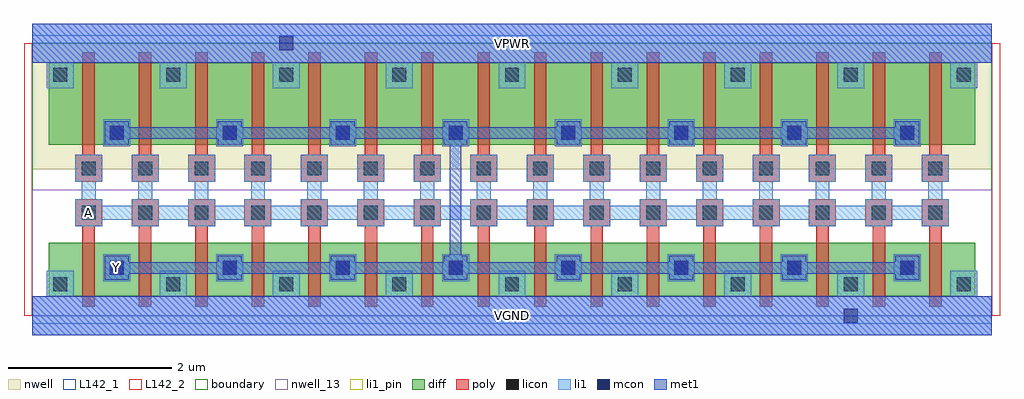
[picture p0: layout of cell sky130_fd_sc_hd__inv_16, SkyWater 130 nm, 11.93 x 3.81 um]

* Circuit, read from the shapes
.subckt sky130_fd_sc_hd__inv_16 A VGND VPWR Y
XM1 Y A VGND VSUBS sky130_fd_pr__nfet_01v8 w=0.65 l=0.15 m=16
XM2 Y A VPWR n1 sky130_fd_pr__pfet_01v8 w=1 l=0.15 m=16
.ends

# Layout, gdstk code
import gdstk
lib = gdstk.Library(unit=1e-6, precision=1e-09)
def R(c, l, rs):  # rectangles x0, y0, x1, y1
    for r in rs: c.add(gdstk.rectangle(r[:2], r[2:], *l))
def A(c, l, x, y, w, h, nx, ny, dx, dy):  # array of equal rectangles
    R(c, l, [(x+i*dx, y+j*dy, x+i*dx+w, y+j*dy+h) for i in range(nx) for j in range(ny)])
def P(c, l, *ps):  # polygons
    for p in ps: c.add(gdstk.Polygon(p, *l))
nwell_13 = (64, 13)
nwell = (64, 20)
diff = (65, 20)
poly = (66, 20)
licon = (66, 44)
li1_pin = (67, 16)
li1 = (67, 20)
mcon = (67, 44)
met1 = (68, 20)
L142_1 = (142, 1)
L142_2 = (142, 2)
boundary = (235, 4)

sky130_fd_sc_hd__inv_16 = lib.new_cell('sky130_fd_sc_hd__inv_16')
R(sky130_fd_sc_hd__inv_16, nwell_13, [(0,0,11.73,1.54)])
R(sky130_fd_sc_hd__inv_16, nwell, [(0,1.79,11.73,3.33)])
A(sky130_fd_sc_hd__inv_16, diff, 0.615, 0.24, 0.69, 0.65, 15, 1, 0.69, 0)
A(sky130_fd_sc_hd__inv_16, diff, 0.615, 2.09, 0.69, 1, 15, 1, 0.69, 0)
R(sky130_fd_sc_hd__inv_16, diff, [(0.2,0.24,11.53,0.89), (0.2,0.24,0.615,0.89), (10.965,0.24,11.53,0.89), (0.2,2.09,11.53,3.09), (0.2,2.09,0.615,3.09), (10.965,2.09,11.53,3.09)])
P(sky130_fd_sc_hd__inv_16, poly, [(0.615,0.11),(0.615,1.095),(0.525,1.095),(0.525,1.425),(0.855,1.425),(0.855,1.095),(0.765,1.095),(0.765,0.11)],
  [(1.305,0.11),(1.305,1.095),(1.215,1.095),(1.215,1.425),(1.545,1.425),(1.545,1.095),(1.455,1.095),(1.455,0.11)],
  [(1.995,0.11),(1.995,1.095),(1.905,1.095),(1.905,1.425),(2.235,1.425),(2.235,1.095),(2.145,1.095),(2.145,0.11)],
  [(2.685,0.11),(2.685,1.095),(2.595,1.095),(2.595,1.425),(2.925,1.425),(2.925,1.095),(2.835,1.095),(2.835,0.11)],
  [(3.375,0.11),(3.375,1.095),(3.285,1.095),(3.285,1.425),(3.615,1.425),(3.615,1.095),(3.525,1.095),(3.525,0.11)],
  [(4.065,0.11),(4.065,1.095),(3.975,1.095),(3.975,1.425),(4.305,1.425),(4.305,1.095),(4.215,1.095),(4.215,0.11)],
  [(4.755,0.11),(4.755,1.095),(4.665,1.095),(4.665,1.425),(4.995,1.425),(4.995,1.095),(4.905,1.095),(4.905,0.11)],
  [(5.445,0.11),(5.445,1.095),(5.355,1.095),(5.355,1.425),(5.685,1.425),(5.685,1.095),(5.595,1.095),(5.595,0.11)],
  [(6.135,0.11),(6.135,1.095),(6.045,1.095),(6.045,1.425),(6.375,1.425),(6.375,1.095),(6.285,1.095),(6.285,0.11)],
  [(6.825,0.11),(6.825,1.095),(6.735,1.095),(6.735,1.425),(7.065,1.425),(7.065,1.095),(6.975,1.095),(6.975,0.11)],
  [(7.515,0.11),(7.515,1.095),(7.425,1.095),(7.425,1.425),(7.755,1.425),(7.755,1.095),(7.665,1.095),(7.665,0.11)],
  [(8.205,0.11),(8.205,1.095),(8.115,1.095),(8.115,1.425),(8.445,1.425),(8.445,1.095),(8.355,1.095),(8.355,0.11)],
  [(8.895,0.11),(8.895,1.095),(8.805,1.095),(8.805,1.425),(9.135,1.425),(9.135,1.095),(9.045,1.095),(9.045,0.11)],
  [(9.585,0.11),(9.585,1.095),(9.495,1.095),(9.495,1.425),(9.825,1.425),(9.825,1.095),(9.735,1.095),(9.735,0.11)],
  [(10.275,0.11),(10.275,1.095),(10.185,1.095),(10.185,1.425),(10.515,1.425),(10.515,1.095),(10.425,1.095),(10.425,0.11)],
  [(10.965,0.11),(10.965,1.095),(10.875,1.095),(10.875,1.425),(11.205,1.425),(11.205,1.095),(11.115,1.095),(11.115,0.11)],
  [(0.525,1.635),(0.525,1.965),(0.615,1.965),(0.615,3.22),(0.765,3.22),(0.765,1.965),(0.855,1.965),(0.855,1.635)],
  [(1.215,1.635),(1.215,1.965),(1.305,1.965),(1.305,3.22),(1.455,3.22),(1.455,1.965),(1.545,1.965),(1.545,1.635)],
  [(1.905,1.635),(1.905,1.965),(1.995,1.965),(1.995,3.22),(2.145,3.22),(2.145,1.965),(2.235,1.965),(2.235,1.635)],
  [(2.595,1.635),(2.595,1.965),(2.685,1.965),(2.685,3.22),(2.835,3.22),(2.835,1.965),(2.925,1.965),(2.925,1.635)],
  [(3.285,1.635),(3.285,1.965),(3.375,1.965),(3.375,3.22),(3.525,3.22),(3.525,1.965),(3.615,1.965),(3.615,1.635)],
  [(3.975,1.635),(3.975,1.965),(4.065,1.965),(4.065,3.22),(4.215,3.22),(4.215,1.965),(4.305,1.965),(4.305,1.635)],
  [(4.665,1.635),(4.665,1.965),(4.755,1.965),(4.755,3.22),(4.905,3.22),(4.905,1.965),(4.995,1.965),(4.995,1.635)],
  [(5.355,1.635),(5.355,1.965),(5.445,1.965),(5.445,3.22),(5.595,3.22),(5.595,1.965),(5.685,1.965),(5.685,1.635)],
  [(6.045,1.635),(6.045,1.965),(6.135,1.965),(6.135,3.22),(6.285,3.22),(6.285,1.965),(6.375,1.965),(6.375,1.635)],
  [(6.735,1.635),(6.735,1.965),(6.825,1.965),(6.825,3.22),(6.975,3.22),(6.975,1.965),(7.065,1.965),(7.065,1.635)],
  [(7.425,1.635),(7.425,1.965),(7.515,1.965),(7.515,3.22),(7.665,3.22),(7.665,1.965),(7.755,1.965),(7.755,1.635)],
  [(8.115,1.635),(8.115,1.965),(8.205,1.965),(8.205,3.22),(8.355,3.22),(8.355,1.965),(8.445,1.965),(8.445,1.635)],
  [(8.805,1.635),(8.805,1.965),(8.895,1.965),(8.895,3.22),(9.045,3.22),(9.045,1.965),(9.135,1.965),(9.135,1.635)],
  [(9.495,1.635),(9.495,1.965),(9.585,1.965),(9.585,3.22),(9.735,3.22),(9.735,1.965),(9.825,1.965),(9.825,1.635)],
  [(10.185,1.635),(10.185,1.965),(10.275,1.965),(10.275,3.22),(10.425,3.22),(10.425,1.965),(10.515,1.965),(10.515,1.635)],
  [(10.875,1.635),(10.875,1.965),(10.965,1.965),(10.965,3.22),(11.115,3.22),(11.115,1.965),(11.205,1.965),(11.205,1.635)])
A(sky130_fd_sc_hd__inv_16, licon, 0.26, 0.3, 0.17, 0.17, 9, 2, 1.38, 2.56)
A(sky130_fd_sc_hd__inv_16, licon, 0.95, 0.5, 0.17, 0.17, 8, 2, 1.38, 1.65)
A(sky130_fd_sc_hd__inv_16, licon, 0.605, 1.175, 0.17, 0.17, 16, 2, 0.69, 0.54)
R(sky130_fd_sc_hd__inv_16, li1_pin, [(0,-0.24,11.73,0.24), (0.87,0.42,1.2,0.75), (0,3.09,11.73,3.57)])
P(sky130_fd_sc_hd__inv_16, li1_pin, [(0.525,1.095),(0.525,1.425),(0.605,1.425),(0.605,1.635),(0.525,1.635),(0.525,1.965),(0.855,1.965),(0.855,1.635),(0.775,1.635),(0.775,1.425),(0.855,1.425),(0.855,1.345),(1.215,1.345),(1.215,1.425),(1.295,1.425),(1.295,1.635),(1.215,1.635),(1.215,1.965),(1.545,1.965),(1.545,1.635),(1.465,1.635),(1.465,1.425),(1.545,1.425),(1.545,1.345),(1.905,1.345),(1.905,1.425),(1.985,1.425),(1.985,1.635),(1.905,1.635),(1.905,1.965),(2.235,1.965),(2.235,1.635),(2.155,1.635),(2.155,1.425),(2.235,1.425),(2.235,1.345),(2.595,1.345),(2.595,1.425),(2.675,1.425),(2.675,1.635),(2.595,1.635),(2.595,1.965),(2.925,1.965),(2.925,1.635),(2.845,1.635),(2.845,1.425),(2.925,1.425),(2.925,1.345),(3.285,1.345),(3.285,1.425),(3.365,1.425),(3.365,1.635),(3.285,1.635),(3.285,1.965),(3.615,1.965),(3.615,1.635),(3.535,1.635),(3.535,1.425),(3.615,1.425),(3.615,1.345),(3.975,1.345),(3.975,1.425),(4.055,1.425),(4.055,1.635),(3.975,1.635),(3.975,1.965),(4.305,1.965),(4.305,1.635),(4.225,1.635),(4.225,1.425),(4.305,1.425),(4.305,1.345),(4.665,1.345),(4.665,1.425),(4.745,1.425),(4.745,1.635),(4.665,1.635),(4.665,1.965),(4.995,1.965),(4.995,1.635),(4.915,1.635),(4.915,1.425),(4.995,1.425),(4.995,1.345),(5.355,1.345),(5.355,1.425),(5.435,1.425),(5.435,1.635),(5.355,1.635),(5.355,1.965),(5.685,1.965),(5.685,1.635),(5.605,1.635),(5.605,1.425),(5.685,1.425),(5.685,1.345),(6.045,1.345),(6.045,1.425),(6.125,1.425),(6.125,1.635),(6.045,1.635),(6.045,1.965),(6.375,1.965),(6.375,1.635),(6.295,1.635),(6.295,1.425),(6.375,1.425),(6.375,1.345),(6.735,1.345),(6.735,1.425),(6.815,1.425),(6.815,1.635),(6.735,1.635),(6.735,1.965),(7.065,1.965),(7.065,1.635),(6.985,1.635),(6.985,1.425),(7.065,1.425),(7.065,1.345),(7.425,1.345),(7.425,1.425),(7.505,1.425),(7.505,1.635),(7.425,1.635),(7.425,1.965),(7.755,1.965),(7.755,1.635),(7.675,1.635),(7.675,1.425),(7.755,1.425),(7.755,1.345),(8.115,1.345),(8.115,1.425),(8.195,1.425),(8.195,1.635),(8.115,1.635),(8.115,1.965),(8.445,1.965),(8.445,1.635),(8.365,1.635),(8.365,1.425),(8.445,1.425),(8.445,1.345),(8.805,1.345),(8.805,1.425),(8.885,1.425),(8.885,1.635),(8.805,1.635),(8.805,1.965),(9.135,1.965),(9.135,1.635),(9.055,1.635),(9.055,1.425),(9.135,1.425),(9.135,1.345),(9.495,1.345),(9.495,1.425),(9.575,1.425),(9.575,1.635),(9.495,1.635),(9.495,1.965),(9.825,1.965),(9.825,1.635),(9.745,1.635),(9.745,1.425),(9.825,1.425),(9.825,1.345),(10.185,1.345),(10.185,1.425),(10.265,1.425),(10.265,1.635),(10.185,1.635),(10.185,1.965),(10.515,1.965),(10.515,1.635),(10.435,1.635),(10.435,1.425),(10.515,1.425),(10.515,1.345),(10.875,1.345),(10.875,1.425),(10.955,1.425),(10.955,1.635),(10.875,1.635),(10.875,1.965),(11.205,1.965),(11.205,1.635),(11.125,1.635),(11.125,1.425),(11.205,1.425),(11.205,1.095),(10.875,1.095),(10.875,1.175),(10.515,1.175),(10.515,1.095),(10.185,1.095),(10.185,1.175),(9.825,1.175),(9.825,1.095),(9.495,1.095),(9.495,1.175),(9.135,1.175),(9.135,1.095),(8.805,1.095),(8.805,1.175),(8.445,1.175),(8.445,1.095),(8.115,1.095),(8.115,1.175),(7.755,1.175),(7.755,1.095),(7.425,1.095),(7.425,1.175),(7.065,1.175),(7.065,1.095),(6.735,1.095),(6.735,1.175),(6.375,1.175),(6.375,1.095),(6.045,1.095),(6.045,1.175),(5.685,1.175),(5.685,1.095),(5.355,1.095),(5.355,1.175),(4.995,1.175),(4.995,1.095),(4.665,1.095),(4.665,1.175),(4.305,1.175),(4.305,1.095),(3.975,1.095),(3.975,1.175),(3.615,1.175),(3.615,1.095),(3.285,1.095),(3.285,1.175),(2.925,1.175),(2.925,1.095),(2.595,1.095),(2.595,1.175),(2.235,1.175),(2.235,1.095),(1.905,1.095),(1.905,1.175),(1.545,1.175),(1.545,1.095),(1.215,1.095),(1.215,1.175),(0.855,1.175),(0.855,1.095)])
A(sky130_fd_sc_hd__inv_16, li1, 0.87, 0.42, 0.33, 0.33, 8, 2, 1.38, 1.65)
P(sky130_fd_sc_hd__inv_16, li1, [(0.18,2.78),(0.18,3.09),(0,3.09),(0,3.57),(11.73,3.57),(11.73,3.09),(11.55,3.09),(11.55,2.78),(11.22,2.78),(11.22,3.09),(10.17,3.09),(10.17,2.78),(9.84,2.78),(9.84,3.09),(8.79,3.09),(8.79,2.78),(8.46,2.78),(8.46,3.09),(7.41,3.09),(7.41,2.78),(7.08,2.78),(7.08,3.09),(6.03,3.09),(6.03,2.78),(5.7,2.78),(5.7,3.09),(4.65,3.09),(4.65,2.78),(4.32,2.78),(4.32,3.09),(3.27,3.09),(3.27,2.78),(2.94,2.78),(2.94,3.09),(1.89,3.09),(1.89,2.78),(1.56,2.78),(1.56,3.09),(0.51,3.09),(0.51,2.78)],
  [(0,-0.24),(0,0.24),(0.18,0.24),(0.18,0.55),(0.51,0.55),(0.51,0.24),(1.56,0.24),(1.56,0.55),(1.89,0.55),(1.89,0.24),(2.94,0.24),(2.94,0.55),(3.27,0.55),(3.27,0.24),(4.32,0.24),(4.32,0.55),(4.65,0.55),(4.65,0.24),(5.7,0.24),(5.7,0.55),(6.03,0.55),(6.03,0.24),(7.08,0.24),(7.08,0.55),(7.41,0.55),(7.41,0.24),(8.46,0.24),(8.46,0.55),(8.79,0.55),(8.79,0.24),(9.84,0.24),(9.84,0.55),(10.17,0.55),(10.17,0.24),(11.22,0.24),(11.22,0.55),(11.55,0.55),(11.55,0.24),(11.73,0.24),(11.73,-0.24)],
  [(0.525,1.095),(0.525,1.425),(0.605,1.425),(0.605,1.635),(0.525,1.635),(0.525,1.965),(0.855,1.965),(0.855,1.635),(0.775,1.635),(0.775,1.425),(0.855,1.425),(0.855,1.345),(1.215,1.345),(1.215,1.425),(1.295,1.425),(1.295,1.635),(1.215,1.635),(1.215,1.965),(1.545,1.965),(1.545,1.635),(1.465,1.635),(1.465,1.425),(1.545,1.425),(1.545,1.345),(1.905,1.345),(1.905,1.425),(1.985,1.425),(1.985,1.635),(1.905,1.635),(1.905,1.965),(2.235,1.965),(2.235,1.635),(2.155,1.635),(2.155,1.425),(2.235,1.425),(2.235,1.345),(2.595,1.345),(2.595,1.425),(2.675,1.425),(2.675,1.635),(2.595,1.635),(2.595,1.965),(2.925,1.965),(2.925,1.635),(2.845,1.635),(2.845,1.425),(2.925,1.425),(2.925,1.345),(3.285,1.345),(3.285,1.425),(3.365,1.425),(3.365,1.635),(3.285,1.635),(3.285,1.965),(3.615,1.965),(3.615,1.635),(3.535,1.635),(3.535,1.425),(3.615,1.425),(3.615,1.345),(3.975,1.345),(3.975,1.425),(4.055,1.425),(4.055,1.635),(3.975,1.635),(3.975,1.965),(4.305,1.965),(4.305,1.635),(4.225,1.635),(4.225,1.425),(4.305,1.425),(4.305,1.345),(4.665,1.345),(4.665,1.425),(4.745,1.425),(4.745,1.635),(4.665,1.635),(4.665,1.965),(4.995,1.965),(4.995,1.635),(4.915,1.635),(4.915,1.425),(4.995,1.425),(4.995,1.345),(5.355,1.345),(5.355,1.425),(5.435,1.425),(5.435,1.635),(5.355,1.635),(5.355,1.965),(5.685,1.965),(5.685,1.635),(5.605,1.635),(5.605,1.425),(5.685,1.425),(5.685,1.345),(6.045,1.345),(6.045,1.425),(6.125,1.425),(6.125,1.635),(6.045,1.635),(6.045,1.965),(6.375,1.965),(6.375,1.635),(6.295,1.635),(6.295,1.425),(6.375,1.425),(6.375,1.345),(6.735,1.345),(6.735,1.425),(6.815,1.425),(6.815,1.635),(6.735,1.635),(6.735,1.965),(7.065,1.965),(7.065,1.635),(6.985,1.635),(6.985,1.425),(7.065,1.425),(7.065,1.345),(7.425,1.345),(7.425,1.425),(7.505,1.425),(7.505,1.635),(7.425,1.635),(7.425,1.965),(7.755,1.965),(7.755,1.635),(7.675,1.635),(7.675,1.425),(7.755,1.425),(7.755,1.345),(8.115,1.345),(8.115,1.425),(8.195,1.425),(8.195,1.635),(8.115,1.635),(8.115,1.965),(8.445,1.965),(8.445,1.635),(8.365,1.635),(8.365,1.425),(8.445,1.425),(8.445,1.345),(8.805,1.345),(8.805,1.425),(8.885,1.425),(8.885,1.635),(8.805,1.635),(8.805,1.965),(9.135,1.965),(9.135,1.635),(9.055,1.635),(9.055,1.425),(9.135,1.425),(9.135,1.345),(9.495,1.345),(9.495,1.425),(9.575,1.425),(9.575,1.635),(9.495,1.635),(9.495,1.965),(9.825,1.965),(9.825,1.635),(9.745,1.635),(9.745,1.425),(9.825,1.425),(9.825,1.345),(10.185,1.345),(10.185,1.425),(10.265,1.425),(10.265,1.635),(10.185,1.635),(10.185,1.965),(10.515,1.965),(10.515,1.635),(10.435,1.635),(10.435,1.425),(10.515,1.425),(10.515,1.345),(10.875,1.345),(10.875,1.425),(10.955,1.425),(10.955,1.635),(10.875,1.635),(10.875,1.965),(11.205,1.965),(11.205,1.635),(11.125,1.635),(11.125,1.425),(11.205,1.425),(11.205,1.095),(10.875,1.095),(10.875,1.175),(10.515,1.175),(10.515,1.095),(10.185,1.095),(10.185,1.175),(9.825,1.175),(9.825,1.095),(9.495,1.095),(9.495,1.175),(9.135,1.175),(9.135,1.095),(8.805,1.095),(8.805,1.175),(8.445,1.175),(8.445,1.095),(8.115,1.095),(8.115,1.175),(7.755,1.175),(7.755,1.095),(7.425,1.095),(7.425,1.175),(7.065,1.175),(7.065,1.095),(6.735,1.095),(6.735,1.175),(6.375,1.175),(6.375,1.095),(6.045,1.095),(6.045,1.175),(5.685,1.175),(5.685,1.095),(5.355,1.095),(5.355,1.175),(4.995,1.175),(4.995,1.095),(4.665,1.095),(4.665,1.175),(4.305,1.175),(4.305,1.095),(3.975,1.095),(3.975,1.175),(3.615,1.175),(3.615,1.095),(3.285,1.095),(3.285,1.175),(2.925,1.175),(2.925,1.095),(2.595,1.095),(2.595,1.175),(2.235,1.175),(2.235,1.095),(1.905,1.095),(1.905,1.175),(1.545,1.175),(1.545,1.095),(1.215,1.095),(1.215,1.175),(0.855,1.175),(0.855,1.095)])
A(sky130_fd_sc_hd__inv_16, mcon, 0.95, 0.5, 0.17, 0.17, 8, 2, 1.38, 1.65)
R(sky130_fd_sc_hd__inv_16, mcon, [(9.92,-0.085,10.09,0.085), (3.02,3.245,3.19,3.415)])
R(sky130_fd_sc_hd__inv_16, met1, [(0,-0.24,11.73,0.24), (0,3.09,11.73,3.57)])
P(sky130_fd_sc_hd__inv_16, met1, [(0.89,0.44),(0.89,0.73),(1.18,0.73),(1.18,0.655),(2.27,0.655),(2.27,0.73),(2.56,0.73),(2.56,0.655),(3.65,0.655),(3.65,0.73),(3.94,0.73),(3.94,0.655),(5.03,0.655),(5.03,0.73),(5.105,0.73),(5.105,2.09),(5.03,2.09),(5.03,2.165),(3.94,2.165),(3.94,2.09),(3.65,2.09),(3.65,2.165),(2.56,2.165),(2.56,2.09),(2.27,2.09),(2.27,2.165),(1.18,2.165),(1.18,2.09),(0.89,2.09),(0.89,2.38),(1.18,2.38),(1.18,2.305),(2.27,2.305),(2.27,2.38),(2.56,2.38),(2.56,2.305),(3.65,2.305),(3.65,2.38),(3.94,2.38),(3.94,2.305),(5.03,2.305),(5.03,2.38),(5.32,2.38),(5.32,2.305),(6.41,2.305),(6.41,2.38),(6.7,2.38),(6.7,2.305),(7.79,2.305),(7.79,2.38),(8.08,2.38),(8.08,2.305),(9.17,2.305),(9.17,2.38),(9.46,2.38),(9.46,2.305),(10.55,2.305),(10.55,2.38),(10.84,2.38),(10.84,2.09),(10.55,2.09),(10.55,2.165),(9.46,2.165),(9.46,2.09),(9.17,2.09),(9.17,2.165),(8.08,2.165),(8.08,2.09),(7.79,2.09),(7.79,2.165),(6.7,2.165),(6.7,2.09),(6.41,2.09),(6.41,2.165),(5.32,2.165),(5.32,2.09),(5.245,2.09),(5.245,0.73),(5.32,0.73),(5.32,0.655),(6.41,0.655),(6.41,0.73),(6.7,0.73),(6.7,0.655),(7.79,0.655),(7.79,0.73),(8.08,0.73),(8.08,0.655),(9.17,0.655),(9.17,0.73),(9.46,0.73),(9.46,0.655),(10.55,0.655),(10.55,0.73),(10.84,0.73),(10.84,0.44),(10.55,0.44),(10.55,0.515),(9.46,0.515),(9.46,0.44),(9.17,0.44),(9.17,0.515),(8.08,0.515),(8.08,0.44),(7.79,0.44),(7.79,0.515),(6.7,0.515),(6.7,0.44),(6.41,0.44),(6.41,0.515),(5.32,0.515),(5.32,0.44),(5.03,0.44),(5.03,0.515),(3.94,0.515),(3.94,0.44),(3.65,0.44),(3.65,0.515),(2.56,0.515),(2.56,0.44),(2.27,0.44),(2.27,0.515),(1.18,0.515),(1.18,0.44)])
R(sky130_fd_sc_hd__inv_16, L142_1, [(0,-0.1,11.73,0), (0,3.33,11.73,3.43)])
R(sky130_fd_sc_hd__inv_16, L142_2, [(-0.1,0,0,3.33), (11.73,0,11.83,3.33)])
R(sky130_fd_sc_hd__inv_16, boundary, [(0,0,11.73,3.33)])
sky130_fd_sc_hd__inv_16.add(gdstk.Label('Y', (1.035,0.585), layer=67, texttype=5))
sky130_fd_sc_hd__inv_16.add(gdstk.Label('A', (0.69,1.26), layer=67, texttype=5))
sky130_fd_sc_hd__inv_16.add(gdstk.Label('VGND', (5.865,0), layer=67, texttype=5))
sky130_fd_sc_hd__inv_16.add(gdstk.Label('VPWR', (5.865,3.33), layer=67, texttype=5))
sky130_fd_sc_hd__inv_16.add(gdstk.Label('VGND', (5.865,0), layer=68, texttype=5))
sky130_fd_sc_hd__inv_16.add(gdstk.Label('VPWR', (5.865,3.33), layer=68, texttype=5))

lib.write_gds('sky130_fd_sc_hd__inv_16.gds')
